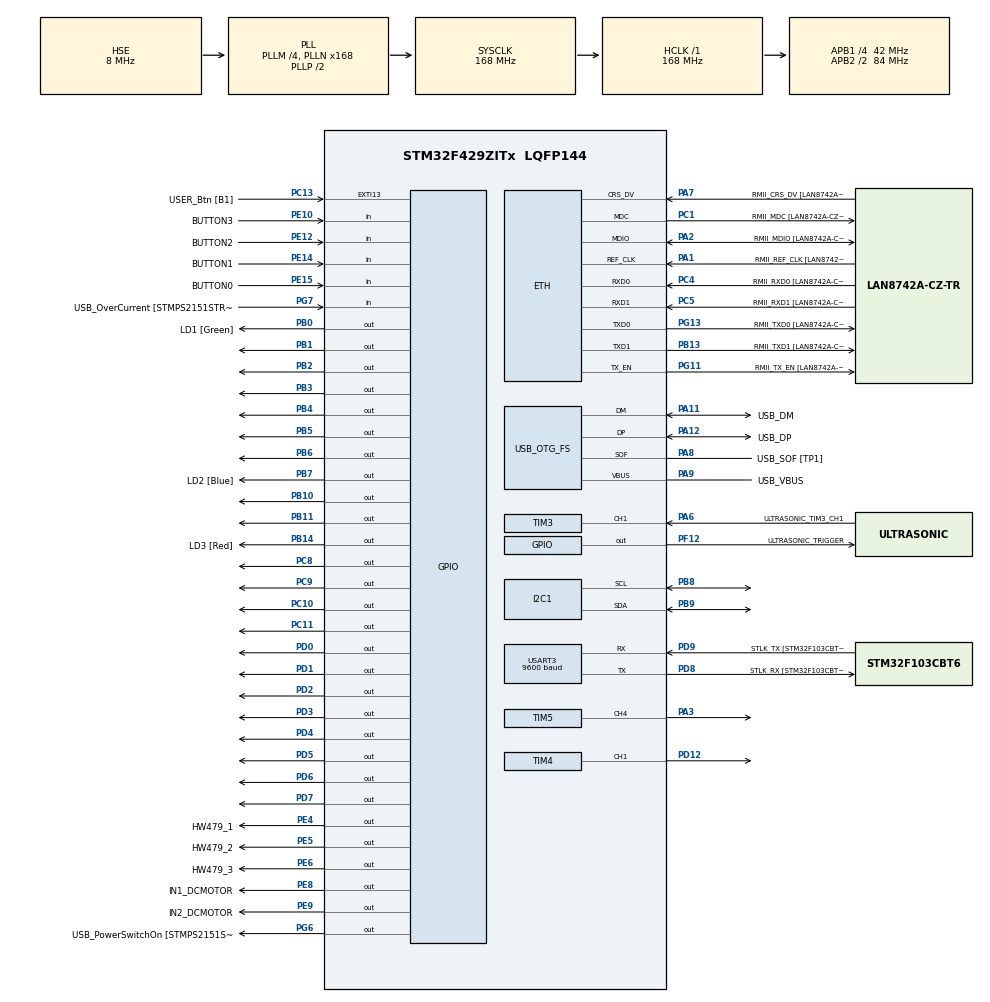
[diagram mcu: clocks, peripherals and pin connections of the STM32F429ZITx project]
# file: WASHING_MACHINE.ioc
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ETH.MediaInterface=HAL_ETH_RMII_MODE
ETH.PHY_Name=LAN8742A_PHY_ADDRESS
ETH.PHY_Value=0
ETH.PhyAddress=0
Mcu.Family=STM32F4
Mcu.Name=STM32F429ZITx
Mcu.Package=LQFP144
NVIC.PriorityGroup=NVIC_PRIORITYGROUP_4
NVIC.TIM1_TRG_COM_TIM11_IRQn=true\:0\:0\:false\:false\:true\:true\:true\:true
NVIC.TIM1_UP_TIM10_IRQn=true\:0\:0\:false\:false\:true\:true\:true\:true
NVIC.TIM3_IRQn=true\:0\:0\:false\:false\:true\:true\:true\:true
NVIC.TIM4_IRQn=true\:0\:0\:false\:false\:true\:true\:true\:true
NVIC.TIM5_IRQn=true\:0\:0\:false\:false\:true\:true\:true\:true
NVIC.USART3_IRQn=true\:0\:0\:false\:false\:true\:true\:true\:true
PA1.GPIO_Label=RMII_REF_CLK [LAN8742A-CZ-TR_REFCLK0]
PA1.Mode=RMII
PA1.Signal=ETH_REF_CLK
PA10.GPIO_Label=USB_ID
PA10.Signal=USB_OTG_FS_ID
PA11.GPIO_Label=USB_DM
PA11.Mode=Device_Only
PA11.Signal=USB_OTG_FS_DM
PA12.GPIO_Label=USB_DP
PA12.Mode=Device_Only
PA12.Signal=USB_OTG_FS_DP
PA13.GPIO_Label=TMS
PA13.Mode=Serial_Wire
PA13.Signal=SYS_JTMS-SWDIO
PA14.GPIO_Label=TCK
PA14.Mode=Serial_Wire
PA14.Signal=SYS_JTCK-SWCLK
PA2.GPIO_Label=RMII_MDIO [LAN8742A-CZ-TR_MDIO]
PA2.Mode=RMII
PA2.Signal=ETH_MDIO
PA3.Signal=S_TIM5_CH4
PA6.GPIO_Label=ULTRASONIC_TIM3_CH1
PA6.Signal=S_TIM3_CH1
PA7.GPIO_Label=RMII_CRS_DV [LAN8742A-CZ-TR_CRS_DV]
PA7.Mode=RMII
PA7.Signal=ETH_CRS_DV
PA8.GPIO_Label=USB_SOF [TP1]
PA8.Mode=Activate_SOF_FS
PA8.Signal=USB_OTG_FS_SOF
PA9.GPIO_Label=USB_VBUS
PA9.Mode=Activate_VBUS
PA9.Signal=USB_OTG_FS_VBUS
PB0.GPIO_Label=LD1 [Green]
PB0.Signal=GPIO_Output
PB1.Signal=GPIO_Output
PB10.Signal=GPIO_Output
PB11.Signal=GPIO_Output
PB13.GPIO_Label=RMII_TXD1 [LAN8742A-CZ-TR_TXD1]
PB13.Mode=RMII
PB13.Signal=ETH_TXD1
PB14.GPIO_Label=LD3 [Red]
PB14.Signal=GPIO_Output
PB2/BOOT1.Signal=GPIO_Output
PB3.Signal=GPIO_Output
PB4.Signal=GPIO_Output
PB5.Signal=GPIO_Output
PB6.Signal=GPIO_Output
PB7.GPIO_Label=LD2 [Blue]
PB7.Signal=GPIO_Output
PB8.Mode=I2C
PB8.Signal=I2C1_SCL
PB9.Mode=I2C
PB9.Signal=I2C1_SDA
PC1.GPIO_Label=RMII_MDC [LAN8742A-CZ-TR_MDC]
PC1.Mode=RMII
PC1.Signal=ETH_MDC
PC10.Signal=GPIO_Output
PC11.Signal=GPIO_Output
PC13.GPIO_Label=USER_Btn [B1]
PC13.Signal=GPXTI13
PC14/OSC32_IN.Mode=LSE-External-Oscillator
PC14/OSC32_IN.Signal=RCC_OSC32_IN
PC15/OSC32_OUT.Mode=LSE-External-Oscillator
PC15/OSC32_OUT.Signal=RCC_OSC32_OUT
PC4.GPIO_Label=RMII_RXD0 [LAN8742A-CZ-TR_RXD0]
PC4.Mode=RMII
PC4.Signal=ETH_RXD0
PC5.GPIO_Label=RMII_RXD1 [LAN8742A-CZ-TR_RXD1]
PC5.Mode=RMII
PC5.Signal=ETH_RXD1
PC8.Signal=GPIO_Output
PC9.Signal=GPIO_Output
PD0.Signal=GPIO_Output
PD1.Signal=GPIO_Output
PD12.Signal=S_TIM4_CH1
PD2.Signal=GPIO_Output
PD3.Signal=GPIO_Output
PD4.Signal=GPIO_Output
PD5.Signal=GPIO_Output
PD6.Signal=GPIO_Output
PD7.Signal=GPIO_Output
PD8.GPIO_Label=STLK_RX [STM32F103CBT6_PA3]
PD8.Mode=Asynchronous
PD8.Signal=USART3_TX
PD9.GPIO_Label=STLK_TX [STM32F103CBT6_PA2]
PD9.Mode=Asynchronous
PD9.Signal=USART3_RX
PE10.GPIO_Label=BUTTON3
PE10.Signal=GPIO_Input
PE12.GPIO_Label=BUTTON2
PE12.Signal=GPIO_Input
PE14.GPIO_Label=BUTTON1
PE14.Signal=GPIO_Input
PE15.GPIO_Label=BUTTON0
PE15.Signal=GPIO_Input
PE4.GPIO_Label=HW479_1
PE4.Signal=GPIO_Output
PE5.GPIO_Label=HW479_2
PE5.Signal=GPIO_Output
PE6.GPIO_Label=HW479_3
PE6.Signal=GPIO_Output
PE8.GPIO_Label=IN1_DCMOTOR
PE8.Signal=GPIO_Output
PE9.GPIO_Label=IN2_DCMOTOR
PE9.Signal=GPIO_Output
PF12.GPIO_Label=ULTRASONIC_TRIGGER
PF12.Signal=GPIO_Output
PG11.GPIO_Label=RMII_TX_EN [LAN8742A-CZ-TR_TXEN]
PG11.Mode=RMII
PG11.Signal=ETH_TX_EN
PG13.GPIO_Label=RMII_TXD0 [LAN8742A-CZ-TR_TXD0]
PG13.Mode=RMII
PG13.Signal=ETH_TXD0
PG6.GPIO_Label=USB_PowerSwitchOn [STMPS2151STR_EN]
PG6.Signal=GPIO_Output
PG7.GPIO_Label=USB_OverCurrent [STMPS2151STR_FAULT]
PG7.Signal=GPIO_Input
PH0/OSC_IN.GPIO_Label=MCO [STM32F103CBT6_PA8]
PH0/OSC_IN.Mode=HSE-External-Clock-Source
PH0/OSC_IN.Signal=RCC_OSC_IN
PH1/OSC_OUT.Mode=HSE-External-Clock-Source
PH1/OSC_OUT.Signal=RCC_OSC_OUT
ProjectManager.HeapSize=0x200
ProjectManager.StackSize=0x400
ProjectManager.TargetToolchain=STM32CubeIDE
RCC.48MHZClocksFreq_Value=48000000
RCC.AHBFreq_Value=168000000
RCC.APB1CLKDivider=RCC_HCLK_DIV4
RCC.APB1Freq_Value=42000000
RCC.APB1TimFreq_Value=84000000
RCC.APB2CLKDivider=RCC_HCLK_DIV2
RCC.APB2Freq_Value=84000000
RCC.APB2TimCLKDivider=2
RCC.APB2TimFreq_Value=168000000
RCC.CortexFreq_Value=168000000
RCC.HCLKFreq_Value=168000000
RCC.HSE_VALUE=8000000
RCC.HSI_VALUE=16000000
RCC.PLLM=4
RCC.PLLMUL=RCC_PLL_MUL9
RCC.PLLN=168
RCC.PLLQ=7
RCC.PRESCALERUSB=RCC_USBCLKSOURCE_PLL_DIV1_5
RCC.SYSCLKFreq_VALUE=168000000
RCC.SYSCLKSource=RCC_SYSCLKSOURCE_PLLCLK
RCC.SYSCLKSourceVirtual=RCC_SYSCLKSOURCE_PLLCLK
RCC.USBFreq_Value=48000000
RCC.VCOOutputFreq_Value=336000000
SH.S_TIM3_CH1.0=TIM3_CH1,Input_Capture1_from_TI1
SH.S_TIM4_CH1.0=TIM4_CH1,PWM Generation1 CH1
SH.S_TIM5_CH4.0=TIM5_CH4,PWM Generation4 CH4
TIM10.Period=10000-1
TIM10.Prescaler=168-1
TIM11.Prescaler=168-1
TIM3.Channel-Input_Capture1_from_TI1=TIM_CHANNEL_1
TIM3.ICPolarity_CH1=TIM_INPUTCHANNELPOLARITY_BOTHEDGE
TIM3.Prescaler=84-1
TIM4.Channel-PWM\ Generation1\ CH1=TIM_CHANNEL_1
TIM4.OCFastMode_PWM-PWM\ Generation1\ CH1=TIM_OCFAST_ENABLE
TIM4.Period=100-1
TIM4.Prescaler=840-1
TIM4.Pulse-PWM\ Generation1\ CH1=70-1
TIM5.Channel-PWM\ Generation4\ CH4=TIM_CHANNEL_4
TIM5.Period=400-1
TIM5.Prescaler=52.5-1
TIM5.Pulse-PWM\ Generation4\ CH4=200-1
USART3.BaudRate=9600
USART3.VirtualMode=VM_ASYNC
USB_OTG_FS.VirtualMode=Device_Only
VP_TIM10_VS_ClockSourceINT.Mode=Enable_Timer
VP_TIM11_VS_ClockSourceINT.Mode=Enable_Timer
board=NUCLEO-F429ZI

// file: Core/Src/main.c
/* USER CODE BEGIN Header */
/**
  ******************************************************************************
  * @file           : main.c
  * @brief          : Main program body
  ******************************************************************************
  * @attention
  *
  * Copyright (c) 2023 STMicroelectronics.
  * All rights reserved.
  *
  * This software is licensed under terms that can be found in the LICENSE file
  * in the root directory of this software component.
  * If no LICENSE file comes with this software, it is provided AS-IS.
  *
  ******************************************************************************
  */
/* USER CODE END Header */
#include "main.h"
#include "string.h"

ETH_TxPacketConfig TxConfig;
ETH_DMADescTypeDef  DMARxDscrTab[ETH_RX_DESC_CNT]; /* Ethernet Rx DMA Descriptors */
ETH_DMADescTypeDef  DMATxDscrTab[ETH_TX_DESC_CNT]; /* Ethernet Tx DMA Descriptors */

ETH_HandleTypeDef heth;

I2C_HandleTypeDef hi2c1;

TIM_HandleTypeDef htim3;
TIM_HandleTypeDef htim4;
TIM_HandleTypeDef htim5;
TIM_HandleTypeDef htim10;
TIM_HandleTypeDef htim11;

UART_HandleTypeDef huart3;

PCD_HandleTypeDef hpcd_USB_OTG_FS;

void SystemClock_Config(void);
static void MX_GPIO_Init(void);
static void MX_ETH_Init(void);
static void MX_USART3_UART_Init(void);
static void MX_USB_OTG_FS_PCD_Init(void);
static void MX_TIM10_Init(void);
static void MX_TIM11_Init(void);
static void MX_TIM3_Init(void);
static void MX_I2C1_Init(void);
static void MX_TIM4_Init(void);
static void MX_TIM5_Init(void);
/* USER CODE BEGIN PFP */
extern void i2c_lcd_init(void);
extern void i2c_lcd_washer_init(void);

extern void washer_main(void);
extern void dcmotor_pwm_control(void);
/* USER CODE END PFP */

/* USER CODE BEGIN 0 */
// --------------------
// call by SysTick_Handler of stm32f4xx_it.c
// ARM default timer
// enter here every 1ms
volatile int t1ms_counter = 0;	// volatile : for disable optimize
void HAL_SYSTICK_Handler(void)
{
	t1ms_counter++;	// 1ms timer
}

void delay_us(unsigned long us)
{
	__HAL_TIM_SET_COUNTER(&htim11, 0);	// tim11 clear
	while (__HAL_TIM_GET_COUNTER(&htim11) < us)
	{

	}
}
/**
  * @brief  Period elapsed callback in non-blocking mode
  * @param  htim TIM handle
  * @retval None
  */
volatile int TIM10_10ms_counter = 0;
volatile int TIM10_10ms_ultrasonic = 0;

void HAL_TIM_PeriodElapsedCallback(TIM_HandleTypeDef *htim)
{
   if (htim->Instance == TIM10)
   {
      TIM10_10ms_counter++;			// 10ms timer counter
      TIM10_10ms_ultrasonic++;
   }
}
//----------  printf start ----------
#ifdef __GNUC__
/* With GCC, small printf (option LD Linker->Libraries->Small printf
   set to 'Yes') calls __io_putchar() */
#define PUTCHAR_PROTOTYPE int __io_putchar(int ch)
#else
#define PUTCHAR_PROTOTYPE int fputc(int ch, FILE *f)
#endif /* __GNUC_ */
/**
  * @brief  Retargets the C library printf function to the USART.
  * @param  None
  * @retval None
  */
PUTCHAR_PROTOTYPE   // Add for printf
{
  /* Place your implementation of fputc here */
  /* e.g. write a character to the USART3 and Loop until the end of transmission */
  HAL_UART_Transmit(&huart3, (uint8_t *)&ch, 1, 0xFFFF);

  return ch;
}
//----------  printf end ----------
/* USER CODE END 0 */

int main(void)
{

  /* MCU Configuration--------------------------------------------------------*/

  /* Reset of all peripherals, Initializes the Flash interface and the Systick. */
  HAL_Init();

  /* Configure the system clock */
  SystemClock_Config();

  /* Initialize all configured peripherals */
  MX_GPIO_Init();
  MX_ETH_Init();
  MX_USART3_UART_Init();
  MX_USB_OTG_FS_PCD_Init();
  MX_TIM10_Init();
  MX_TIM11_Init();
  MX_TIM3_Init();
  MX_I2C1_Init();
  MX_TIM4_Init();
  MX_TIM5_Init();
  /* USER CODE BEGIN 2 */
  HAL_TIM_Base_Start_IT(&htim10);
  HAL_TIM_Base_Start_IT(&htim11);
  HAL_TIM_IC_Start_IT(&htim3, TIM_CHANNEL_1);	// for count pulse (rising edge & falling edge)
  i2c_lcd_washer_init();
  /* USER CODE END 2 */

  /* Infinite loop */
  /* USER CODE BEGIN WHILE */
printf("START!!!\n");
__HAL_TIM_SET_COMPARE(&htim5, TIM_CHANNEL_4, 0);
HAL_TIM_PWM_Start(&htim5, TIM_CHANNEL_4);	// start sound

  while (1)
  {
	  washer_main();
    /* USER CODE END WHILE */

  }
}

void SystemClock_Config(void)
{
  RCC_OscInitTypeDef RCC_OscInitStruct = {0};
  RCC_ClkInitTypeDef RCC_ClkInitStruct = {0};

  /** Configure the main internal regulator output voltage
  */
  __HAL_RCC_PWR_CLK_ENABLE();
  __HAL_PWR_VOLTAGESCALING_CONFIG(PWR_REGULATOR_VOLTAGE_SCALE1);

  /** Initializes the RCC Oscillators according to the specified parameters
  * in the RCC_OscInitTypeDef structure.
  */
  RCC_OscInitStruct.OscillatorType = RCC_OSCILLATORTYPE_HSE;
  RCC_OscInitStruct.HSEState = RCC_HSE_BYPASS;
  RCC_OscInitStruct.PLL.PLLState = RCC_PLL_ON;
  RCC_OscInitStruct.PLL.PLLSource = RCC_PLLSOURCE_HSE;
  RCC_OscInitStruct.PLL.PLLM = 4;
  RCC_OscInitStruct.PLL.PLLN = 168;
  RCC_OscInitStruct.PLL.PLLP = RCC_PLLP_DIV2;
  RCC_OscInitStruct.PLL.PLLQ = 7;
  if (HAL_RCC_OscConfig(&RCC_OscInitStruct) != HAL_OK)
  {
    Error_Handler();
  }

  /** Initializes the CPU, AHB and APB buses clocks
  */
  RCC_ClkInitStruct.ClockType = RCC_CLOCKTYPE_HCLK|RCC_CLOCKTYPE_SYSCLK
                              |RCC_CLOCKTYPE_PCLK1|RCC_CLOCKTYPE_PCLK2;
  RCC_ClkInitStruct.SYSCLKSource = RCC_SYSCLKSOURCE_PLLCLK;
  RCC_ClkInitStruct.AHBCLKDivider = RCC_SYSCLK_DIV1;
  RCC_ClkInitStruct.APB1CLKDivider = RCC_HCLK_DIV4;
  RCC_ClkInitStruct.APB2CLKDivider = RCC_HCLK_DIV2;

  if (HAL_RCC_ClockConfig(&RCC_ClkInitStruct, FLASH_LATENCY_5) != HAL_OK)
  {
    Error_Handler();
  }
}

static void MX_ETH_Init(void)
{

   static uint8_t MACAddr[6];

  heth.Instance = ETH;
  MACAddr[0] = 0x00;
  MACAddr[1] = 0x80;
  MACAddr[2] = 0xE1;
  MACAddr[3] = 0x00;
  MACAddr[4] = 0x00;
  MACAddr[5] = 0x00;
  heth.Init.MACAddr = &MACAddr[0];
  heth.Init.MediaInterface = HAL_ETH_RMII_MODE;
  heth.Init.TxDesc = DMATxDscrTab;
  heth.Init.RxDesc = DMARxDscrTab;
  heth.Init.RxBuffLen = 1524;

  if (HAL_ETH_Init(&heth) != HAL_OK)
  {
    Error_Handler();
  }

  memset(&TxConfig, 0 , sizeof(ETH_TxPacketConfig));
  TxConfig.Attributes = ETH_TX_PACKETS_FEATURES_CSUM | ETH_TX_PACKETS_FEATURES_CRCPAD;
  TxConfig.ChecksumCtrl = ETH_CHECKSUM_IPHDR_PAYLOAD_INSERT_PHDR_CALC;
  TxConfig.CRCPadCtrl = ETH_CRC_PAD_INSERT;

}

static void MX_I2C1_Init(void)
{

  hi2c1.Instance = I2C1;
  hi2c1.Init.ClockSpeed = 100000;
  hi2c1.Init.DutyCycle = I2C_DUTYCYCLE_2;
  hi2c1.Init.OwnAddress1 = 0;
  hi2c1.Init.AddressingMode = I2C_ADDRESSINGMODE_7BIT;
  hi2c1.Init.DualAddressMode = I2C_DUALADDRESS_DISABLE;
  hi2c1.Init.OwnAddress2 = 0;
  hi2c1.Init.GeneralCallMode = I2C_GENERALCALL_DISABLE;
  hi2c1.Init.NoStretchMode = I2C_NOSTRETCH_DISABLE;
  if (HAL_I2C_Init(&hi2c1) != HAL_OK)
  {
    Error_Handler();
  }

  /** Configure Analogue filter
  */
  if (HAL_I2CEx_ConfigAnalogFilter(&hi2c1, I2C_ANALOGFILTER_ENABLE) != HAL_OK)
  {
    Error_Handler();
  }

  /** Configure Digital filter
  */
  if (HAL_I2CEx_ConfigDigitalFilter(&hi2c1, 0) != HAL_OK)
  {
    Error_Handler();
  }

}

static void MX_TIM3_Init(void)
{

  TIM_MasterConfigTypeDef sMasterConfig = {0};
  TIM_IC_InitTypeDef sConfigIC = {0};

  htim3.Instance = TIM3;
  htim3.Init.Prescaler = 84-1;
  htim3.Init.CounterMode = TIM_COUNTERMODE_UP;
  htim3.Init.Period = 65535;
  htim3.Init.ClockDivision = TIM_CLOCKDIVISION_DIV1;
  htim3.Init.AutoReloadPreload = TIM_AUTORELOAD_PRELOAD_DISABLE;
  if (HAL_TIM_IC_Init(&htim3) != HAL_OK)
  {
    Error_Handler();
  }
  sMasterConfig.MasterOutputTrigger = TIM_TRGO_RESET;
  sMasterConfig.MasterSlaveMode = TIM_MASTERSLAVEMODE_DISABLE;
  if (HAL_TIMEx_MasterConfigSynchronization(&htim3, &sMasterConfig) != HAL_OK)
  {
    Error_Handler();
  }
  sConfigIC.ICPolarity = TIM_INPUTCHANNELPOLARITY_BOTHEDGE;
  sConfigIC.ICSelection = TIM_ICSELECTION_DIRECTTI;
  sConfigIC.ICPrescaler = TIM_ICPSC_DIV1;
  sConfigIC.ICFilter = 0;
  if (HAL_TIM_IC_ConfigChannel(&htim3, &sConfigIC, TIM_CHANNEL_1) != HAL_OK)
  {
    Error_Handler();
  }

}

static void MX_TIM4_Init(void)
{

  TIM_MasterConfigTypeDef sMasterConfig = {0};
  TIM_OC_InitTypeDef sConfigOC = {0};

  htim4.Instance = TIM4;
  htim4.Init.Prescaler = 840-1;
  htim4.Init.CounterMode = TIM_COUNTERMODE_UP;
  htim4.Init.Period = 100-1;
  htim4.Init.ClockDivision = TIM_CLOCKDIVISION_DIV1;
  htim4.Init.AutoReloadPreload = TIM_AUTORELOAD_PRELOAD_DISABLE;
  if (HAL_TIM_PWM_Init(&htim4) != HAL_OK)
  {
    Error_Handler();
  }
  sMasterConfig.MasterOutputTrigger = TIM_TRGO_RESET;
  sMasterConfig.MasterSlaveMode = TIM_MASTERSLAVEMODE_DISABLE;
  if (HAL_TIMEx_MasterConfigSynchronization(&htim4, &sMasterConfig) != HAL_OK)
  {
    Error_Handler();
  }
  sConfigOC.OCMode = TIM_OCMODE_PWM1;
  sConfigOC.Pulse = 70-1;
  sConfigOC.OCPolarity = TIM_OCPOLARITY_HIGH;
  sConfigOC.OCFastMode = TIM_OCFAST_ENABLE;
  if (HAL_TIM_PWM_ConfigChannel(&htim4, &sConfigOC, TIM_CHANNEL_1) != HAL_OK)
  {
    Error_Handler();
  }
  HAL_TIM_MspPostInit(&htim4);

}

static void MX_TIM5_Init(void)
{

  TIM_MasterConfigTypeDef sMasterConfig = {0};
  TIM_OC_InitTypeDef sConfigOC = {0};

  htim5.Instance = TIM5;
  htim5.Init.Prescaler = 52.5-1;
  htim5.Init.CounterMode = TIM_COUNTERMODE_UP;
  htim5.Init.Period = 400-1;
  htim5.Init.ClockDivision = TIM_CLOCKDIVISION_DIV1;
  htim5.Init.AutoReloadPreload = TIM_AUTORELOAD_PRELOAD_DISABLE;
  if (HAL_TIM_PWM_Init(&htim5) != HAL_OK)
  {
    Error_Handler();
  }
  sMasterConfig.MasterOutputTrigger = TIM_TRGO_RESET;
  sMasterConfig.MasterSlaveMode = TIM_MASTERSLAVEMODE_DISABLE;
  if (HAL_TIMEx_MasterConfigSynchronization(&htim5, &sMasterConfig) != HAL_OK)
  {
    Error_Handler();
  }
  sConfigOC.OCMode = TIM_OCMODE_PWM1;
  sConfigOC.Pulse = 200-1;
  sConfigOC.OCPolarity = TIM_OCPOLARITY_HIGH;
  sConfigOC.OCFastMode = TIM_OCFAST_DISABLE;
  if (HAL_TIM_PWM_ConfigChannel(&htim5, &sConfigOC, TIM_CHANNEL_4) != HAL_OK)
  {
    Error_Handler();
  }
  HAL_TIM_MspPostInit(&htim5);

}

static void MX_TIM10_Init(void)
{

  htim10.Instance = TIM10;
  htim10.Init.Prescaler = 168-1;
  htim10.Init.CounterMode = TIM_COUNTERMODE_UP;
  htim10.Init.Period = 10000-1;
  htim10.Init.ClockDivision = TIM_CLOCKDIVISION_DIV1;
  htim10.Init.AutoReloadPreload = TIM_AUTORELOAD_PRELOAD_DISABLE;
  if (HAL_TIM_Base_Init(&htim10) != HAL_OK)
  {
    Error_Handler();
  }

}

static void MX_TIM11_Init(void)
{

  htim11.Instance = TIM11;
  htim11.Init.Prescaler = 168-1;
  htim11.Init.CounterMode = TIM_COUNTERMODE_UP;
  htim11.Init.Period = 65535;
  htim11.Init.ClockDivision = TIM_CLOCKDIVISION_DIV1;
  htim11.Init.AutoReloadPreload = TIM_AUTORELOAD_PRELOAD_DISABLE;
  if (HAL_TIM_Base_Init(&htim11) != HAL_OK)
  {
    Error_Handler();
  }

}

static void MX_USART3_UART_Init(void)
{

  huart3.Instance = USART3;
  huart3.Init.BaudRate = 9600;
  huart3.Init.WordLength = UART_WORDLENGTH_8B;
  huart3.Init.StopBits = UART_STOPBITS_1;
  huart3.Init.Parity = UART_PARITY_NONE;
  huart3.Init.Mode = UART_MODE_TX_RX;
  huart3.Init.HwFlowCtl = UART_HWCONTROL_NONE;
  huart3.Init.OverSampling = UART_OVERSAMPLING_16;
  if (HAL_UART_Init(&huart3) != HAL_OK)
  {
    Error_Handler();
  }

}

static void MX_USB_OTG_FS_PCD_Init(void)
{

  hpcd_USB_OTG_FS.Instance = USB_OTG_FS;
  hpcd_USB_OTG_FS.Init.dev_endpoints = 4;
  hpcd_USB_OTG_FS.Init.speed = PCD_SPEED_FULL;
  hpcd_USB_OTG_FS.Init.dma_enable = DISABLE;
  hpcd_USB_OTG_FS.Init.phy_itface = PCD_PHY_EMBEDDED;
  hpcd_USB_OTG_FS.Init.Sof_enable = ENABLE;
  hpcd_USB_OTG_FS.Init.low_power_enable = DISABLE;
  hpcd_USB_OTG_FS.Init.lpm_enable = DISABLE;
  hpcd_USB_OTG_FS.Init.vbus_sensing_enable = ENABLE;
  hpcd_USB_OTG_FS.Init.use_dedicated_ep1 = DISABLE;
  if (HAL_PCD_Init(&hpcd_USB_OTG_FS) != HAL_OK)
  {
    Error_Handler();
  }

}

static void MX_GPIO_Init(void)
{
  GPIO_InitTypeDef GPIO_InitStruct = {0};

  /* GPIO Ports Clock Enable */
  __HAL_RCC_GPIOE_CLK_ENABLE();
  __HAL_RCC_GPIOC_CLK_ENABLE();
  __HAL_RCC_GPIOH_CLK_ENABLE();
  __HAL_RCC_GPIOA_CLK_ENABLE();
  __HAL_RCC_GPIOB_CLK_ENABLE();
  __HAL_RCC_GPIOF_CLK_ENABLE();
  __HAL_RCC_GPIOD_CLK_ENABLE();
  __HAL_RCC_GPIOG_CLK_ENABLE();

  /*Configure GPIO pin Output Level */
  HAL_GPIO_WritePin(GPIOE, HW479_1_Pin|HW479_2_Pin|HW479_3_Pin|IN1_DCMOTOR_Pin
                          |IN2_DCMOTOR_Pin, GPIO_PIN_RESET);

  /*Configure GPIO pin Output Level */
  HAL_GPIO_WritePin(GPIOB, LD1_Pin|GPIO_PIN_1|GPIO_PIN_2|GPIO_PIN_10
                          |GPIO_PIN_11|LD3_Pin|GPIO_PIN_3|GPIO_PIN_4
                          |GPIO_PIN_5|GPIO_PIN_6|LD2_Pin, GPIO_PIN_RESET);

  /*Configure GPIO pin Output Level */
  HAL_GPIO_WritePin(ULTRASONIC_TRIGGER_GPIO_Port, ULTRASONIC_TRIGGER_Pin, GPIO_PIN_RESET);

  /*Configure GPIO pin Output Level */
  HAL_GPIO_WritePin(USB_PowerSwitchOn_GPIO_Port, USB_PowerSwitchOn_Pin, GPIO_PIN_RESET);

  /*Configure GPIO pin Output Level */
  HAL_GPIO_WritePin(GPIOC, GPIO_PIN_8|GPIO_PIN_9|GPIO_PIN_10|GPIO_PIN_11, GPIO_PIN_RESET);

  /*Configure GPIO pin Output Level */
  HAL_GPIO_WritePin(GPIOD, GPIO_PIN_0|GPIO_PIN_1|GPIO_PIN_2|GPIO_PIN_3
                          |GPIO_PIN_4|GPIO_PIN_5|GPIO_PIN_6|GPIO_PIN_7, GPIO_PIN_RESET);

  /*Configure GPIO pins : HW479_1_Pin HW479_2_Pin HW479_3_Pin IN1_DCMOTOR_Pin
                           IN2_DCMOTOR_Pin */
  GPIO_InitStruct.Pin = HW479_1_Pin|HW479_2_Pin|HW479_3_Pin|IN1_DCMOTOR_Pin
                          |IN2_DCMOTOR_Pin;
  GPIO_InitStruct.Mode = GPIO_MODE_OUTPUT_PP;
  GPIO_InitStruct.Pull = GPIO_NOPULL;
  GPIO_InitStruct.Speed = GPIO_SPEED_FREQ_LOW;
  HAL_GPIO_Init(GPIOE, &GPIO_InitStruct);

  /*Configure GPIO pin : USER_Btn_Pin */
  GPIO_InitStruct.Pin = USER_Btn_Pin;
  GPIO_InitStruct.Mode = GPIO_MODE_IT_RISING;
  GPIO_InitStruct.Pull = GPIO_NOPULL;
  HAL_GPIO_Init(USER_Btn_GPIO_Port, &GPIO_InitStruct);

  /*Configure GPIO pins : LD1_Pin PB1 PB2 PB10
                           PB11 LD3_Pin PB3 PB4
                           PB5 PB6 LD2_Pin */
  GPIO_InitStruct.Pin = LD1_Pin|GPIO_PIN_1|GPIO_PIN_2|GPIO_PIN_10
                          |GPIO_PIN_11|LD3_Pin|GPIO_PIN_3|GPIO_PIN_4
                          |GPIO_PIN_5|GPIO_PIN_6|LD2_Pin;
  GPIO_InitStruct.Mode = GPIO_MODE_OUTPUT_PP;
  GPIO_InitStruct.Pull = GPIO_NOPULL;
  GPIO_InitStruct.Speed = GPIO_SPEED_FREQ_LOW;
  HAL_GPIO_Init(GPIOB, &GPIO_InitStruct);

  /*Configure GPIO pin : ULTRASONIC_TRIGGER_Pin */
  GPIO_InitStruct.Pin = ULTRASONIC_TRIGGER_Pin;
  GPIO_InitStruct.Mode = GPIO_MODE_OUTPUT_PP;
  GPIO_InitStruct.Pull = GPIO_NOPULL;
  GPIO_InitStruct.Speed = GPIO_SPEED_FREQ_LOW;
  HAL_GPIO_Init(ULTRASONIC_TRIGGER_GPIO_Port, &GPIO_InitStruct);

  /*Configure GPIO pins : BUTTON3_Pin BUTTON2_Pin BUTTON1_Pin BUTTON0_Pin */
  GPIO_InitStruct.Pin = BUTTON3_Pin|BUTTON2_Pin|BUTTON1_Pin|BUTTON0_Pin;
  GPIO_InitStruct.Mode = GPIO_MODE_INPUT;
  GPIO_InitStruct.Pull = GPIO_NOPULL;
  HAL_GPIO_Init(GPIOE, &GPIO_InitStruct);

  /*Configure GPIO pin : USB_PowerSwitchOn_Pin */
  GPIO_InitStruct.Pin = USB_PowerSwitchOn_Pin;
  GPIO_InitStruct.Mode = GPIO_MODE_OUTPUT_PP;
  GPIO_InitStruct.Pull = GPIO_NOPULL;
  GPIO_InitStruct.Speed = GPIO_SPEED_FREQ_LOW;
  HAL_GPIO_Init(USB_PowerSwitchOn_GPIO_Port, &GPIO_InitStruct);

  /*Configure GPIO pin : USB_OverCurrent_Pin */
  GPIO_InitStruct.Pin = USB_OverCurrent_Pin;
  GPIO_InitStruct.Mode = GPIO_MODE_INPUT;
  GPIO_InitStruct.Pull = GPIO_NOPULL;
  HAL_GPIO_Init(USB_OverCurrent_GPIO_Port, &GPIO_InitStruct);

  /*Configure GPIO pins : PC8 PC9 PC10 PC11 */
  GPIO_InitStruct.Pin = GPIO_PIN_8|GPIO_PIN_9|GPIO_PIN_10|GPIO_PIN_11;
  GPIO_InitStruct.Mode = GPIO_MODE_OUTPUT_PP;
  GPIO_InitStruct.Pull = GPIO_NOPULL;
  GPIO_InitStruct.Speed = GPIO_SPEED_FREQ_LOW;
  HAL_GPIO_Init(GPIOC, &GPIO_InitStruct);

  /*Configure GPIO pins : PD0 PD1 PD2 PD3
                           PD4 PD5 PD6 PD7 */
  GPIO_InitStruct.Pin = GPIO_PIN_0|GPIO_PIN_1|GPIO_PIN_2|GPIO_PIN_3
                          |GPIO_PIN_4|GPIO_PIN_5|GPIO_PIN_6|GPIO_PIN_7;
  GPIO_InitStruct.Mode = GPIO_MODE_OUTPUT_PP;
  GPIO_InitStruct.Pull = GPIO_NOPULL;
  GPIO_InitStruct.Speed = GPIO_SPEED_FREQ_LOW;
  HAL_GPIO_Init(GPIOD, &GPIO_InitStruct);

}

void Error_Handler(void)
{
  __disable_irq();
  while (1)
  {
  }
}
